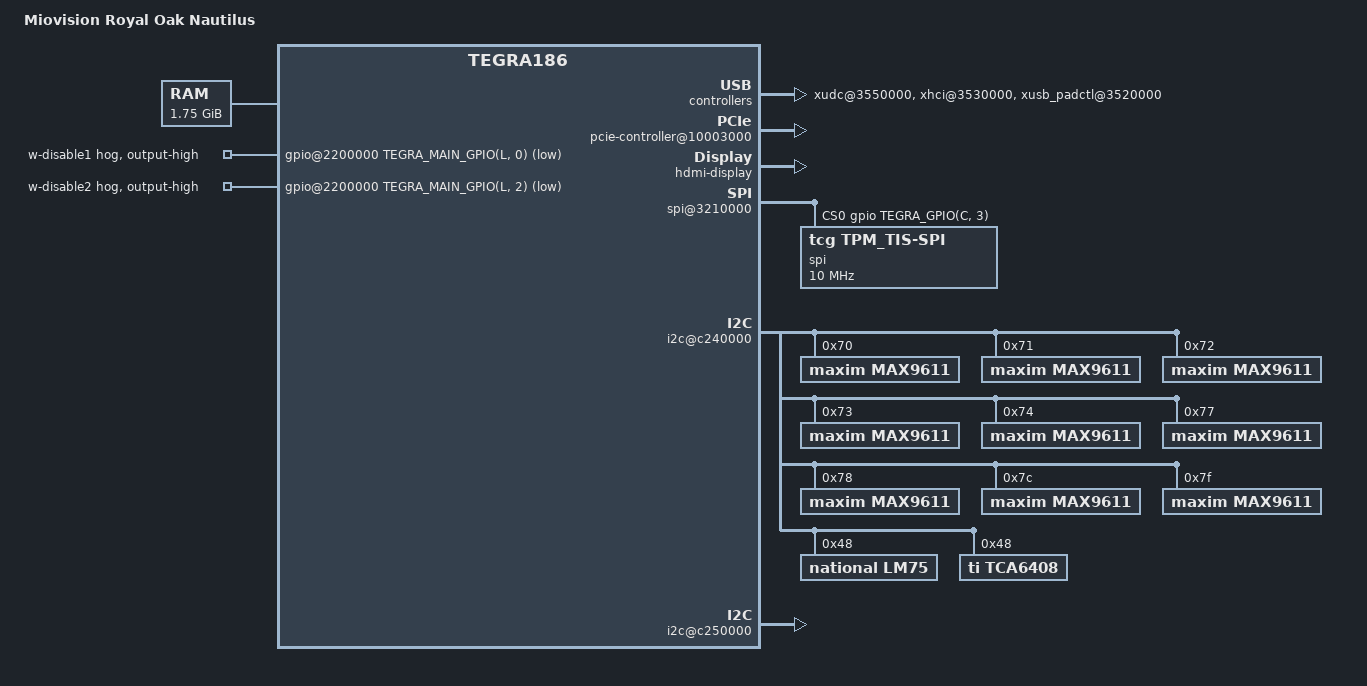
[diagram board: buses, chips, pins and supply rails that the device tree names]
/*
 * tegra186-p3636-0001-p3509-royaloak-nautilus.dts : Miovision Nautilus Board
 *
 * Copyright (c) 2020, NVIDIA CORPORATION. All rights reserved.
 *
 * This program is free software; you can redistribute it and/or modify
 * it under the terms of the GNU General Public License as published by
 * the Free Software Foundation; version 2 of the License.
 *
 * This program is distributed in the hope that it will be useful, but WITHOUT
 * ANY WARRANTY; without even the implied warranty of MERCHANTABILITY or
 * FITNESS FOR A PARTICULAR PURPOSE.  See the GNU General Public License for
 * more details.
 */
#include "common/tegra186-p3636-0001-common.dtsi"
#include "common/tegra186-p3509-0000-cvb.dtsi"
#include "common/tegra186-p3509-0000-a00-fixed-regulator.dtsi"
#include "common/tegra186-p3636-0001-a00-prod.dtsi"
#include "common/tegra186-camera-lanai-rbpcv2-imx219.dtsi"

/* plugin manager */
#include "common/tegra186-super-module-e2614-p3509-0000-a00.dtsi"

#include "tegra18x-nautilus_tx2-nx-gpio-default.dtsi"
#include "tegra18x-nautilus_tx2-nx-padvoltage-default.dtsi"
#include "tegra18x-nautilus_tx2-nx-pinmux.dtsi"

/ {
	model = "Miovision Royal Oak Nautilus"
	compatible = "nvidia,p3509-0000+p3636-0001", "nvidia,tegra186";

	nvidia,dtsfilename = __FILE__;
	nvidia,boardids = "3636:0001:A0";
	nvidia,proc-boardid = "3636:0001:A0";
	nvidia,fastboot-usb-vid = <0x0955>;
	nvidia,fastboot-usb-pid = <0xee16>;

	chosen {
		board-has-eeprom;
		bootargs ="console=ttyS0,115200";
		stdout-path = &uarta;
		nvidia,tegra-joint_xpu_rail;
	};

	memory@80000000 {
		device_type = "memory";
		reg = <0x0 0x80000000 0x0 0x70000000>;
	};

	xudc@3550000 {
		status = "okay";
		phys = <&{/xusb_padctl@3520000/pads/usb2/lanes/usb2-0}>;
		phy-names = "usb2";
		nvidia,boost-cpu-freq = <1200>;
	};

	usb_cd {
		status = "disabled";
		phys = <&{/xusb_padctl@3520000/pads/usb2/lanes/usb2-0}>;
		phy-names = "otg-phy";
		nvidia,xusb-padctl = <&xusb_padctl>;
	};

	xhci@3530000 {
		status = "okay";
		phys = <&{/xusb_padctl@3520000/pads/usb2/lanes/usb2-0}>,
			<&{/xusb_padctl@3520000/pads/usb2/lanes/usb2-1}>,
			<&{/xusb_padctl@3520000/pads/usb2/lanes/usb2-2}>,
			<&{/xusb_padctl@3520000/pads/usb3/lanes/usb3-1}>;
		phy-names = "usb2-0", "usb2-1", "usb2-2", "usb3-1";
	};

	xusb_padctl@3520000 {
		status = "okay";

		pads {
			usb2 {
				lanes {
					usb2-0 {
						nvidia,function = "xusb";
						status = "okay";
					};
					usb2-1 {
						nvidia,function = "xusb";
						status = "okay";
					};
					usb2-2 {
						nvidia,function = "xusb";
						status = "okay";
					};
				};
			};
			usb3 {
				lanes {
					usb3-1 {
						nvidia,function = "xusb";
						status = "okay";
					};
				};
			};
		};

		ports {
			usb2-0 {
				status = "okay";
				mode = "otg";
			};
			usb2-1 {
				status = "okay";
				mode = "host";
			};
			usb2-2 {
				status = "okay";
				mode = "host";
			};
			usb3-1 {
				nvidia,usb2-companion = <1>;
				status = "okay";
			};
		};
	};

	pcie-controller@10003000 {
		status = "okay";
		pci@1,0 {
			nvidia,num-lanes = <2>;
			nvidia,disable-clock-request;
			status = "okay";
		};
		pci@2,0 {
			nvidia,num-lanes = <1>;
			nvidia,disable-clock-request;
			status = "disabled";
		};
		pci@3,0 {
			nvidia,num-lanes = <1>;
			nvidia,disable-clock-request;
			status = "okay";
		};
	};

	gpio@2200000 {
		w-disable1 {
			gpio-hog;
			output-high;
			gpios = <TEGRA_MAIN_GPIO(L, 0) GPIO_ACTIVE_LOW>;
			label = "w-disable1";
			status = "okay";
		};
		w-disable2 {
			gpio-hog;
			output-high;
			gpios = <TEGRA_MAIN_GPIO(L, 2) GPIO_ACTIVE_LOW>;
			label = "w-disable2";
			status = "okay";
		};
	};

	mttcan@c310000 {
		status = "okay";
	};

	cpufreq@e070000 {
		cpu_emc_map =
			< 499200  204000>,
			< 652800  408000>,
			<1420800  665600>,
			<1920000 1866000>;
	};

	tegra_udrm: tegra_udrm {
		compatible = "nvidia,tegra-udrm";
	};

	host1x {
		nvdisplay@15200000 {
			status = "okay";
			nvidia,dc-or-node = "/host1x/sor1";
			nvidia,dc-connector = <&sor1>;
			nvidia,fb-win = <0>;
			win-mask = <0x7>;
		};
		nvdisplay@15210000 {
			status = "okay";
			bootloader-status = "disabled";
			nvidia,dc-or-node = "/host1x/sor";
			nvidia,dc-connector = <&sor0>;
			nvidia,fb-win = <3>;
			win-mask = <0x38>;
		};
		sor {
			status = "okay";
			nvidia,active-panel = <&sor0_dp_display>;
			dp-display {
				status = "okay";
			};
		};
		sor1 {
			status = "okay";
			nvidia,active-panel = <&sor1_hdmi_display>;
			hdmi-display {
				status = "okay";
			};
		};
		dpaux@155c0000 {
			status = "okay";
		};
		dpaux@15040000 {
			status = "okay";
		};
	};

	// TX2 NX Module SPI 0 --> Tegra SPI 1 (TPM)
	//spi@70000ad4 { // MH: I don't think this is the address, but it might be.
	spi@3210000 {
		status = "okay";
		// Not actually 100% sure this does anything, it was suggested on the NVidia forums. The kernel doesn't
		// look for this, but possibly one of the boot loaders does. This is suppose to disable power management
		// on the interface.
		nvidia,disable-runtime-pm;

		// The PINMUX needed to be adjusted to put the CS line as a GPIO pin which is software controlled,
		// the hardware control was dropping the CS line between transactions resetting the TPM.
		cs-gpios = <&gpio TEGRA_GPIO(C, 3) GPIO_ACTIVE_HIGH>;

		spi@0 {
			reg = <0x0>;
			compatible = "tcg,tpm_tis-spi";
			spi-max-frequency = <10000000>;
			controller-data {
				// This setting along with the cs-gpios keeps the CS active during the full transaction.
				nvidia,clk-delay-between-packets = <0x1>;
			};
		};
	};


	// TX2 NX Module I2C-1 --> X2 I2C2
	// U24 -> 0x70 -> 1V2 vs 1V2_CAM
	// U39 -> 0x71 -> 1V8 vs 1V8_CAM
	// U40 -> 0x72 -> 3V3 vs 3V3_CAM
	// U41 -> 0x73 -> 12V vs 12V_CAM
	// U45 -> 0x74 -> 5V vs 5V_NX
	// U15 -> 0x77 -> 3V3 vs 3V3_SD
	// U46 -> 0x78 -> 3V3 vs 3V3_CELL_UNFLT
	// U47 -> 0x7c -> 3V3 vs 3V3_WIFI_UNFLT
	// U42 -> 0x7f -> 36Vin vs 36Vin_LCD
	// U6  -> 0x48 -> Ambient Temperature
	// U2  -> 0x20 -> Board Id / Rev
	i2c@c240000 {
		status = "okay";
		max9611@70 {
			status = "okay";
			compatible = "maxim,max9611";
			reg = <0x70>;
		};
		max9611@71 {
			status = "okay";
			compatible = "maxim,max9611";
			reg = <0x71>;
		};
		max9611@72 {
			status = "okay";
			compatible = "maxim,max9611";
			reg = <0x72>;
		};
		max9611@73 {
			status = "okay";
			compatible = "maxim,max9611";
			reg = <0x73>;
		};
		max9611@74 {
			status = "okay";
			compatible = "maxim,max9611";
			reg = <0x74>;
		};
		max9611@77 {
			status = "okay";
			compatible = "maxim,max9611";
			reg = <0x77>;
		};
		max9611@78 {
			status = "okay";
			compatible = "maxim,max9611";
			reg = <0x78>;
		};
		max9611@7c {
			status = "okay";
			compatible = "maxim,max9611";
			reg = <0x7c>;
		};
		max9611@7f {
			status = "okay";
			compatible = "maxim,max9611";
			reg = <0x7f>;
		};
		lm75@48 {
			status= "okay";
			compatible = "national,lm75";
			reg = <0x48>;
		};
		tca6408@20 {
			status= "okay";
			compatible = "ti,tca6408";
			reg = <0x48>;
		}
	};
	i2c@c250000 {
		status = "okay";
	};
};
#if LINUX_VERSION >= 414
#include <tegra186-linux-4.14.dtsi>
#endif
